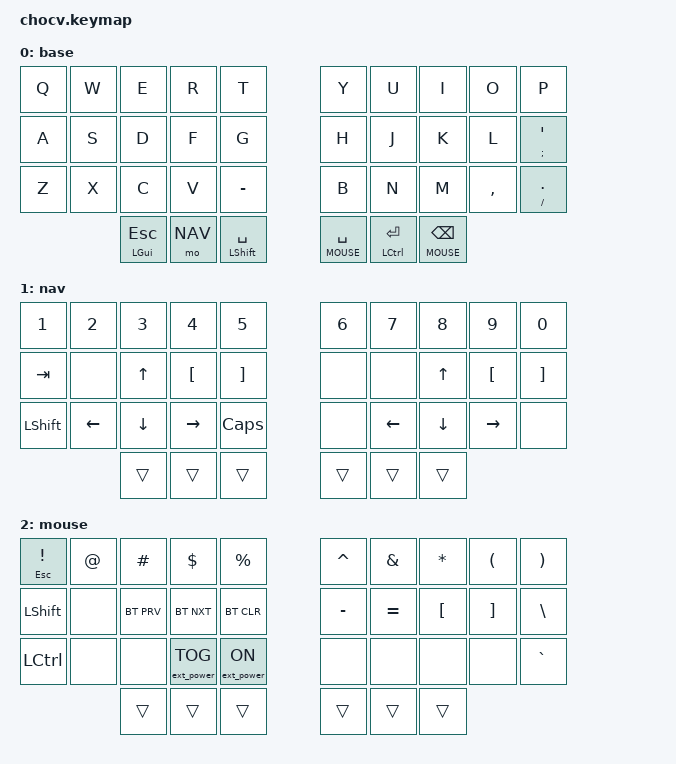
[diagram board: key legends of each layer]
/*
 * Copyright (c) 2020 The ZMK Contributors
 *
 * SPDX-License-Identifier: MIT
 */

#include <behaviors.dtsi>
#include <dt-bindings/zmk/keys.h>
#include <dt-bindings/zmk/bt.h>
#include <dt-bindings/zmk/ext_power.h>
#include <dt-bindings/zmk/outputs.h>
#include <dt-bindings/zmk/mouse.h>

#define BASE    0
#define NAV     1
#define MOUSE   2


&lt {
    quick_tap_ms = <250>;
};

&mt {
    tapping-term-ms = <400>;
};

&mmv {
    time-to-max-speed-ms = <50>;
};

&mwh {
    acceleration-exponent=<1>;
};

/ {
    behaviors {
        as: auto_shift {
            compatible = "zmk,behavior-hold-tap";
            label = "AUTO_SHIFT";
            #binding-cells = <2>;
            tapping_term_ms = <135>;
            quick_tap_ms = <0>;
            flavor = "tap-preferred";
            bindings = <&kp>, <&kp>;
        };
    };

	keymap {
		compatible = "zmk,keymap";

		base {
			bindings = <
&kp Q          	&kp W          	&kp E         	&kp R       	&kp T                                  	&kp Y          	&kp U         	&kp I          	&kp O           &kp P          
&kp A       	&kp S      	&kp D     	&kp F 	    	&kp G                                  	&kp H          	&kp J	    	&kp K     	&kp L      	&mt SEMI SQT  
&kp Z           &kp X           &kp C           &kp V           &kp MINUS                        	&kp B           &kp N           &kp M           &kp COMMA       &mt FSLH DOT       
                                &mt LGUI ESC    &mo NAV   	&mt LSHFT SPACE		                &lt MOUSE SPACE &mt LCTRL RET   &lt MOUSE BSPC   
			>;
		};

		nav {
			bindings = <
&kp N1      	&kp N2       	&kp N3     	&kp N4     	&kp N5                           	&kp N6    	&kp N7     	&kp N8     	&kp N9     	&kp N0          
&kp TAB       	&none        	&kp UP          &kp LBKT        &kp RBKT        	                &none           &none	        &kp UP          &kp LBKT       	&kp RBKT               
&kp LSHFT       &kp LEFT       	&kp DOWN       	&kp RIGHT      	&kp CAPS                                &none           &kp LEFT        &kp DOWN        &kp RIGHT       &none   
                                &trans          &trans          &trans                                  &trans          &trans          &trans          
			>;
		};

		mouse {
			bindings = <
&mt ESC EXCL    &kp AT          &kp HASH        &kp DLLR           &kp PRCNT                               &kp CARET       &kp AMPS        &kp STAR        &kp LPAR        &kp RPAR          
&kp LSHFT       &none           &bt BT_PRV      &bt BT_NXT         &bt BT_CLR                              &kp MINUS	&kp EQUAL       &kp LBKT        &kp RBKT        &kp BSLH               
&kp LCTRL       &none           &none       	&ext_power EP_TOG  &ext_power EP_ON                        &none           &none           &none           &none           &kp GRAVE          
                                &trans          &trans             &trans                                  &trans          &trans          &trans          
			>;
		};

		
	};
};
